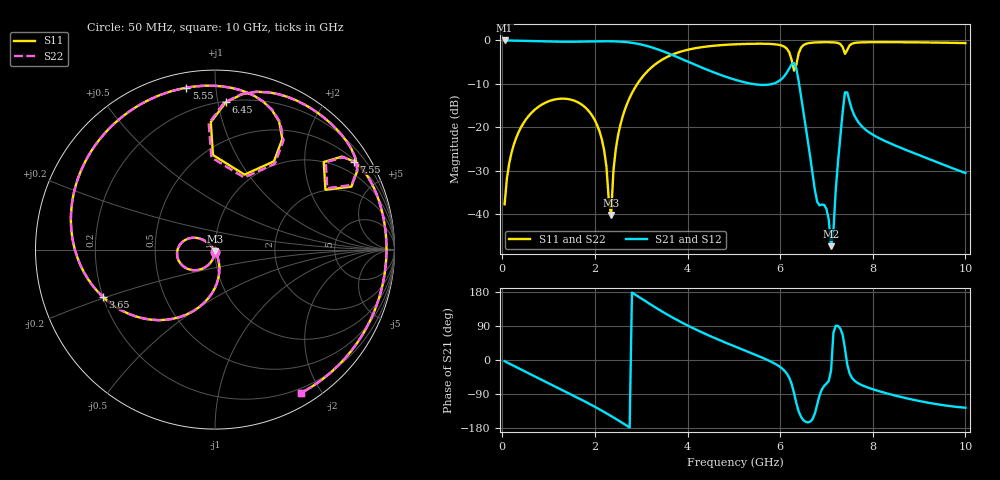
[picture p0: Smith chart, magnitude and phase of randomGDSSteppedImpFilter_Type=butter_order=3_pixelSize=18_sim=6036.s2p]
! freq	dB(S11)	phase(S11)	dB(S12)	phase(S12)
!  dB(S21)	phase(S21)	dB(S22)	phase(S22)
!S-par simulation data
#  GHz  S  DB  R 50
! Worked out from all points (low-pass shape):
!   200 points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, 50 MHz to 10 GHz, reference 50 ohm
!   highest |S21| = -0.01 dB at 50 MHz (marker M1); lowest = -47.4 dB at 7.1 GHz (marker M2)
!   |S21| within 3 dB of the highest: start of sweep to 3.592 GHz
!   lowest |S11| = -40.2 dB at 2.35 GHz (marker M3), VSWR 1.02, Z = 50 - j0.976 ohm
!   |S11| at or under -10 dB: start of sweep to 2.918 GHz
!   |S22| runs from -40.1 to -0.4 dB; largest |S21 - S12| = 0
!   S11 on the Smith chart (normalised r, x): 50 MHz: 1.00, -0.03; 3.65 GHz: 0.20, -0.19; 5.55 GHz: 0.07, +0.83; 6.45 GHz: 0.21, +1.05; 7.55 GHz: 0.55, +3.36; 10 GHz: 0.15, -1.76
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0.05  -37.75 -92.1  -0.01 -3.2  -0.01 -3.2  -37.75 -92.1
0.2  -25.85 -102.5  -0.03 -12.5  -0.03 -12.5  -25.85 -102.4
0.55  -17.66 -124.5  -0.12 -34.0  -0.12 -34.0  -17.66 -124.4
1.75  -15.06 162.7  -0.27 -107.2  -0.27 -107.2  -15.06 162.8
2.15  -22.83 138.6  -0.20 -133.7  -0.20 -133.7  -22.83 138.8
2.35  -40.20 -91.5  -0.20 -147.9  -0.20 -147.9  -40.13 -92.1
2.45  -25.10 -71.6  -0.23 -155.2  -0.23 -155.2  -25.10 -71.7
2.6  -17.50 -80.0  -0.32 -166.5  -0.32 -166.5  -17.50 -80.0
3.4  -4.78 -139.8  -2.22 131.7  -2.22 131.7  -4.78 -139.7
3.65  -3.36 -157.3  -3.26 113.9  -3.26 113.9  -3.36 -157.3
4.3  -1.56 162.9  -6.22 73.6  -6.22 73.6  -1.56 162.9
5.05  -0.88 124.3  -9.13 34.3  -9.13 34.3  -0.88 124.3
5.55  -0.76 100.1  -10.22 9.5  -10.22 9.5  -0.76 100.0
6.15  -1.97 63.4  -7.32 -36.9  -7.32 -36.9  -2.00 62.8
6.3  -6.96 68.5  -5.20 -87.1  -5.20 -87.1  -7.27 67.9
6.45  -1.70 85.8  -12.79 -149.9  -12.79 -149.9  -1.74 86.5
6.7  -0.51 64.0  -30.76 -155.7  -30.76 -155.7  -0.52 64.3
7.1  -0.43 42.1  -47.41 -27.2  -47.41 -27.2  -0.43 42.3
7.4  -3.10 28.5  -11.95 29.6  -11.95 29.6  -2.94 28.7
7.55  -0.76 32.4  -15.92 -47.0  -15.92 -47.0  -0.74 32.0
8.35  -0.40 -2.9  -23.60 -89.6  -23.60 -89.6  -0.40 -3.1
10  -0.62 -58.9  -30.55 -126.0  -30.55 -126.0  -0.62 -59.1
